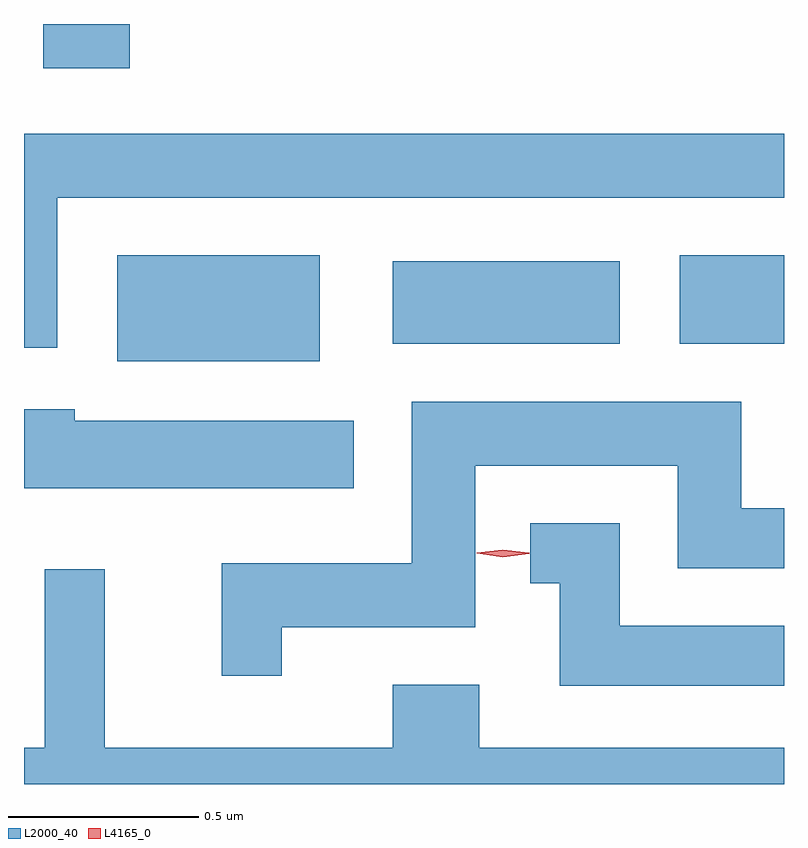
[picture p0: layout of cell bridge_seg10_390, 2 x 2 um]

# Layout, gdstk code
import gdstk
lib = gdstk.Library(unit=1e-6, precision=1e-09)
def R(c, l, rs):  # rectangles x0, y0, x1, y1
    for r in rs: c.add(gdstk.rectangle(r[:2], r[2:], *l))
def P(c, l, *ps):  # polygons
    for p in ps: c.add(gdstk.Polygon(p, *l))
L2000_40 = (2000, 40)
L4165_0 = (4165, 0)

bridge_seg10_390 = lib.new_cell('bridge_seg10_390')
R(bridge_seg10_390, L2000_40, [(1058.126,2101.881,1058.659,2102.159), (1058.851,2101.926,1059.449,2102.144), (1059.606,2101.926,1059.881,2102.159), (1057.931,2102.651,1058.159,2102.768)])
P(bridge_seg10_390, L2000_40, [(1057.969,2102.311),(1059.881,2102.311),(1059.881,2102.479),(1057.881,2102.479),(1057.881,2101.916),(1057.969,2101.916)],
  [(1058.559,2101.181),(1059.069,2101.181),(1059.069,2101.606),(1059.601,2101.606),(1059.601,2101.336),(1059.881,2101.336),(1059.881,2101.494),(1059.769,2101.494),(1059.769,2101.774),(1058.901,2101.774),(1058.901,2101.349),(1058.401,2101.349),(1058.401,2101.053),(1058.559,2101.053)],
  [(1058.749,2101.724),(1058.014,2101.724),(1058.014,2101.754),(1057.881,2101.754),(1057.881,2101.546),(1058.749,2101.546)],
  [(1059.881,2101.184),(1059.449,2101.184),(1059.449,2101.454),(1059.213,2101.454),(1059.213,2101.296),(1059.291,2101.296),(1059.291,2101.026),(1059.881,2101.026)],
  [(1059.881,2100.864),(1059.079,2100.864),(1059.079,2101.029),(1058.851,2101.029),(1058.851,2100.864),(1058.094,2100.864),(1058.094,2101.333),(1057.936,2101.333),(1057.936,2100.864),(1057.881,2100.864),(1057.881,2100.768),(1059.881,2100.768)])
P(bridge_seg10_390, L4165_0, [(1059.141,2101.365),(1059.072,2101.375),(1059.072,2101.376),(1059.072,2101.376),(1059.141,2101.385),(1059.211,2101.376),(1059.211,2101.375),(1059.211,2101.374)])

lib.write_gds('bridge_seg10_390.gds')
